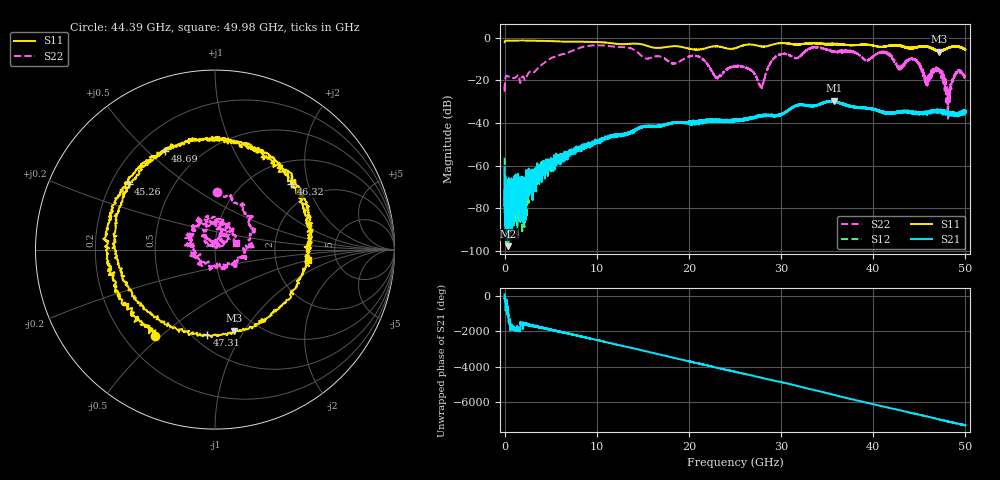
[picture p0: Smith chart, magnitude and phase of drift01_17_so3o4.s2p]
!Created with skrf (http://scikit-rf.org).
# Hz S RI R 50.0
!freq ReS11 ImS11 ReS21 ImS21 ReS12 ImS12 ReS22 ImS22
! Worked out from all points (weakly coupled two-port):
!   10001 points, 300 kHz to 50 GHz, reference 50 ohm
!   highest |S21| = -29.64 dB at 35.72 GHz (marker M1); lowest = -97.8 dB at 405.3 MHz (marker M2)
!   lowest |S11| = -6.7 dB at 47.19 GHz (marker M3), VSWR 2.73, Z = 39.2 - j45.1 ohm
!   |S11| at or under -10 dB: nowhere
!   |S22| runs from -38.0 to -3.6 dB; largest |S21 - S12| = 0.0039
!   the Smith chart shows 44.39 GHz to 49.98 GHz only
!   S11 on the Smith chart (normalised r, x): 44.39 GHz: 0.32, -0.48; 45.26 GHz: 0.27, +0.32; 46.32 GHz: 1.48, +1.56; 47.31 GHz: 0.59, -0.72; 48.69 GHz: 0.32, +0.57; 49.98 GHz: 3.08, -0.49
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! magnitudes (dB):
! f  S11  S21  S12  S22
! 300 kHz  -2.1  -60.7  -56.3  -22.1
! 405.3 MHz  -1.4  -97.8  -74.2  -18.2
! 8.335 GHz  -1.9  -51.7  -51.4  -4.5
! 16.67 GHz  -4.9  -41.6  -41.4  -8.7
! 20.97 GHz  -5.7  -39.3  -40.0  -8.8
! 23.07 GHz  -4.1  -39.3  -39.1  -18.7
! 25 GHz  -5.0  -38.9  -39.2  -13.6
! 27.84 GHz  -4.2  -36.4  -36.6  -22.7
! 29.48 GHz  -2.9  -36.5  -36.6  -8.8
! 33.34 GHz  -2.6  -32.1  -32.0  -4.8
! 35.72 GHz  -2.9  -29.6  -29.9  -6.2
! 41.67 GHz  -3.9  -35.6  -35.1  -7.5
! 42.84 GHz  -4.0  -34.7  -34.7  -13.9
! 44.39 GHz  -4.6  -34.6  -35.1  -9.8
! 45.26 GHz  -4.3  -35.4  -35.7  -14.8
! 46.32 GHz  -5.1  -34.9  -34.8  -16.6
! 47.19 GHz  -6.7  -34.2  -34.6  -15.6
! 47.31 GHz  -6.5  -34.3  -34.3  -15.4
! 48.12 GHz  -4.9  -35.5  -35.2  -38.0
! 48.69 GHz  -4.2  -36.1  -35.9  -18.9
! 49.98 GHz  -5.7  -34.1  -34.8  -18.4
! 50 GHz  -5.7  -35.3  -35.4  -18.5
